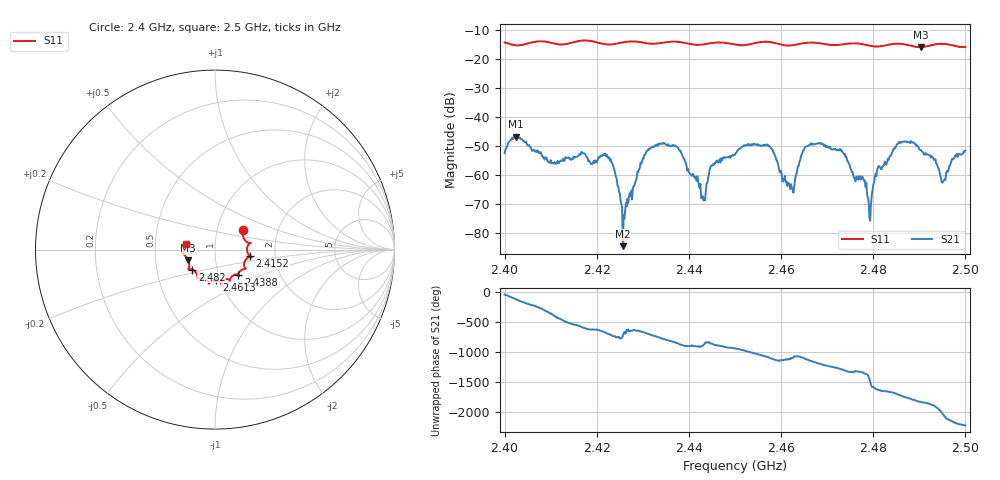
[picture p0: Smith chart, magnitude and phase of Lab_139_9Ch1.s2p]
# Hz S RI R 50
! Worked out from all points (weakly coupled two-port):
!   601 points, 2.4 GHz to 2.5 GHz, reference 50 ohm
!   highest |S21| = -46.82 dB at 2.4025 GHz (marker M1); lowest = -84.7 dB at 2.4257 GHz (marker M2)
!   lowest |S11| = -15.9 dB at 2.4903 GHz (marker M3), VSWR 1.38, Z = 36.8 - j4.44 ohm
!   |S11| at or under -10 dB: start of sweep to end of sweep
!   S12 and S22 are empty: the file has one direction only
!   S11 on the Smith chart (normalised r, x): 2.4 GHz: 1.33, +0.31; 2.4152 GHz: 1.48, -0.11; 2.4388 GHz: 1.24, -0.36; 2.4613 GHz: 0.96, -0.34; 2.482 GHz: 0.76, -0.17; 2.5 GHz: 0.72, +0.05
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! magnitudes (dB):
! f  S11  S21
! 2.4 GHz  -14.3  -52.5
! 2.4025 GHz  -15.3  -46.8
! 2.4152 GHz  -14.1  -54.1
! 2.4167 GHz  -13.6  -52.0
! 2.4227 GHz  -15.0  -54.0
! 2.4257 GHz  -14.2  -84.7
! 2.4305 GHz  -14.4  -53.1
! 2.4333 GHz  -14.6  -49.9
! 2.4388 GHz  -14.4  -54.1
! 2.4432 GHz  -14.9  -68.9
! 2.445 GHz  -14.4  -56.9
! 2.45 GHz  -15.0  -53.0
! 2.4572 GHz  -14.1  -50.0
! 2.4613 GHz  -15.3  -63.9
! 2.4667 GHz  -14.3  -49.7
! 2.4733 GHz  -14.9  -52.2
! 2.4792 GHz  -15.4  -74.4
! 2.482 GHz  -15.5  -57.1
! 2.4833 GHz  -15.0  -54.9
! 2.4903 GHz  -15.9  -51.4
! 2.4952 GHz  -14.7  -62.2
! 2.5 GHz  -15.8  -51.6
